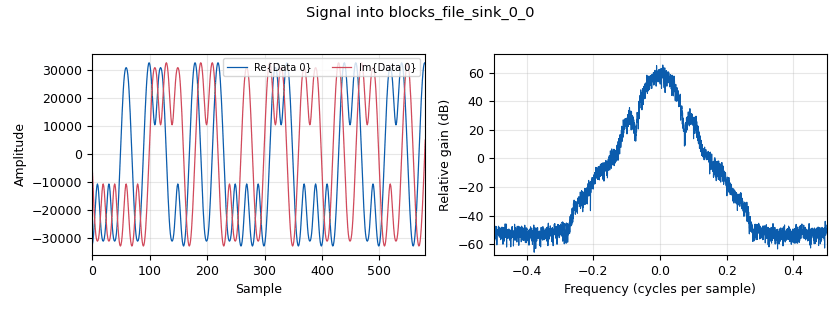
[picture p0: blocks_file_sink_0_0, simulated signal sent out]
options:
  parameters:
    generate_options: qt_gui
    id: GFSK_genPSD
    output_language: python
    title: Not titled yet
  states: {}

blocks:
- name: BLE_fd
  id: variable
  parameters:
    value: '250000'
  states: {}
- name: BLE_sym_length
  id: variable
  parameters:
    value: '.000001'
  states: {}
- name: samp_rate
  id: variable
  parameters:
    value: '10000000'
  states: {}
- name: sensitivity
  id: variable
  parameters:
    value: 2*math.pi*BLE_fd/samp_rate
  states: {}
- name: analog_random_source_x_0
  id: analog_random_source_x
  parameters:
    max: '2'
    min: '0'
    num_samps: '2000'
    repeat: 'True'
    type: byte
  states: {}
- name: blocks_complex_to_imag_0
  id: blocks_complex_to_imag
  parameters: {}
  states: {}
- name: blocks_complex_to_real_0
  id: blocks_complex_to_real
  parameters: {}
  states: {}
- name: blocks_file_sink_0_0
  id: blocks_file_sink
  parameters:
    file: /home/samnolan/OSLA_research/ww_uhd/host/osla-host/interference/gnuradio/log/c16_gfskPSDcsv_10M.bin
    type: short
    vlen: '2'
  states: {}
- name: blocks_float_to_short_0
  id: blocks_float_to_short
  parameters:
    scale: '32767'
  states: {}
- name: blocks_float_to_short_0_0
  id: blocks_float_to_short
  parameters:
    scale: '32767'
  states: {}
- name: blocks_head_0_0
  id: blocks_head
  parameters:
    num_items: '20000'
    type: short
    vlen: '2'
  states: {}
- name: blocks_streams_to_vector_0
  id: blocks_streams_to_vector
  parameters:
    type: short
  states: {}
- name: blocks_throttle_0_0_0
  id: blocks_throttle
  parameters:
    samples_per_second: samp_rate
    type: complex
  states: {}
- name: digital_gfsk_mod_0_0_0
  id: digital_gfsk_mod
  parameters:
    bt: '0.5'
    do_unpack: 'False'
    samples_per_symbol: round(BLE_sym_length*samp_rate)
    sensitivity: sensitivity
  states: {}
- name: import_0
  id: import
  parameters:
    imports: import math
  states: {}
- name: import_0_0
  id: import
  parameters:
    imports: import numpy as np
  states: {}

connections:
- [analog_random_source_x_0, '0', digital_gfsk_mod_0_0_0, '0']
- [blocks_complex_to_imag_0, '0', blocks_float_to_short_0, '0']
- [blocks_complex_to_real_0, '0', blocks_float_to_short_0_0, '0']
- [blocks_float_to_short_0, '0', blocks_streams_to_vector_0, '1']
- [blocks_float_to_short_0_0, '0', blocks_streams_to_vector_0, '0']
- [blocks_head_0_0, '0', blocks_file_sink_0_0, '0']
- [blocks_streams_to_vector_0, '0', blocks_head_0_0, '0']
- [blocks_throttle_0_0_0, '0', blocks_complex_to_imag_0, '0']
- [blocks_throttle_0_0_0, '0', blocks_complex_to_real_0, '0']
- [digital_gfsk_mod_0_0_0, '0', blocks_throttle_0_0_0, '0']

metadata:
  file_format: 1
